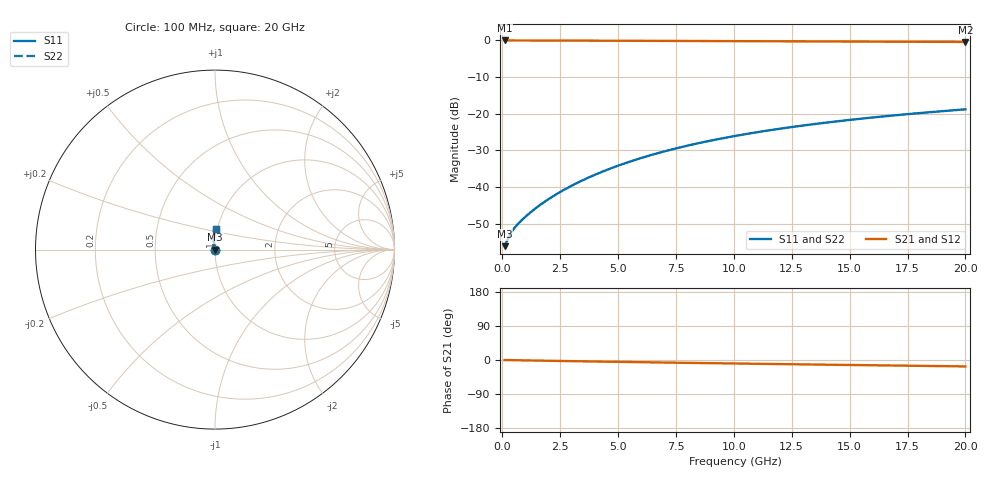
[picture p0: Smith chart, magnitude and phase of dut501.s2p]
! Touchstone file exported from HFSS 2024.1.0
!  File:  C:/UserFiles/LocalFiles/RDL_TSV_Batchsim/temp_RDL_bottom_501_1779687252.aedt
!  Generated:  01:36:29 PM May 25, 2026
!  Design:  RDL_bottom
!  Project:  temp_RDL_bottom_501_1779687252
!  Setup:  Setup1
!  Solution:  Sweep
! Variables:
!  dtsv = 10.80580581um
!  hbump = 3um
!  htsv = 97.28um
!  ldown = 269.1um
!  lrdl = 100um
!  p = 40
!  p1 = 41.2um
!  rhole = 1um
!  t = 450um
!  tdown = 2.82um
!  trdl = 3.915915916um
!  wdown = 29.97um
!  wrdl = 20um
# GHz S MA R 50.000000
! Terminal data exported
! Port[1] = RDL1_T1
! Port[2] = RDL1_T2
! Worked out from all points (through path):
!   200 points, 100 MHz to 20 GHz, reference 50 ohm
!   highest |S21| = -0.01 dB at 100 MHz (marker M1); lowest = -0.4 dB at 20 GHz (marker M2)
!   group delay of S21, straight-line fit = 2.31 ps
!   lowest |S11| = -56.2 dB at 100 MHz (marker M3), VSWR 1.00, Z = 50.1 + j0.0495 ohm
!   |S11| at or under -10 dB: start of sweep to end of sweep
!   |S22| runs from -56.2 to -18.8 dB; largest |S21 - S12| = 3.2e-15
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0.1  0.001552 18.5  0.9985 -0.1  0.9985 -0.1  0.001552 18.5
! Gamma 0 0 0 0
! Port Impedance 50 0 50 0
0.3  0.002133 38.2  0.9983 -0.3  0.9983 -0.3  0.002133 38.2
0.4  0.002421 43.1  0.9981 -0.4  0.9981 -0.4  0.002421 43.1
0.5  0.002685 47.1  0.998 -0.5  0.998 -0.5  0.002685 47.1
0.6  0.002935 50.5  0.9979 -0.6  0.9979 -0.6  0.002935 50.5
0.8  0.003421 56.7  0.9977 -0.8  0.9977 -0.8  0.003421 56.7
1.2  0.00444 66.8  0.9973 -1.2  0.9973 -1.2  0.00444 66.8
1.7  0.005873 76.1  0.9967 -1.8  0.9967 -1.8  0.005873 76.1
2.2  0.007483 82.7  0.9959 -2.3  0.9959 -2.3  0.007483 82.7
2.8  0.00964 88.4  0.9948 -2.8  0.9948 -2.8  0.00964 88.4
3.5  0.01246 93.1  0.9933 -3.5  0.9933 -3.5  0.01246 93.1
4.2  0.01558 96.2  0.9916 -4.2  0.9916 -4.2  0.01558 96.2
5  0.01949 98.4  0.9895 -4.9  0.9895 -4.9  0.01949 98.4
5.9  0.02427 99.7  0.987 -5.8  0.987 -5.8  0.02427 99.7
6.8  0.02939 100.2  0.9844 -6.6  0.9844 -6.6  0.02939 100.2
8.4  0.03909 99.8  0.9797 -7.9  0.9797 -7.9  0.03909 99.8
10.1  0.04993 98.4  0.9751 -9.3  0.9751 -9.3  0.04994 98.4
11.7  0.0604 96.6  0.971 -10.6  0.971 -10.6  0.0604 96.6
13.4  0.07161 94.5  0.967 -11.9  0.967 -11.9  0.07161 94.5
15  0.08216 92.5  0.9635 -13.1  0.9635 -13.1  0.08216 92.5
16.7  0.09329 90.3  0.9601 -14.4  0.9601 -14.4  0.0933 90.3
20  0.1146 86.3  0.9539 -16.9  0.9539 -16.9  0.1146 86.3
